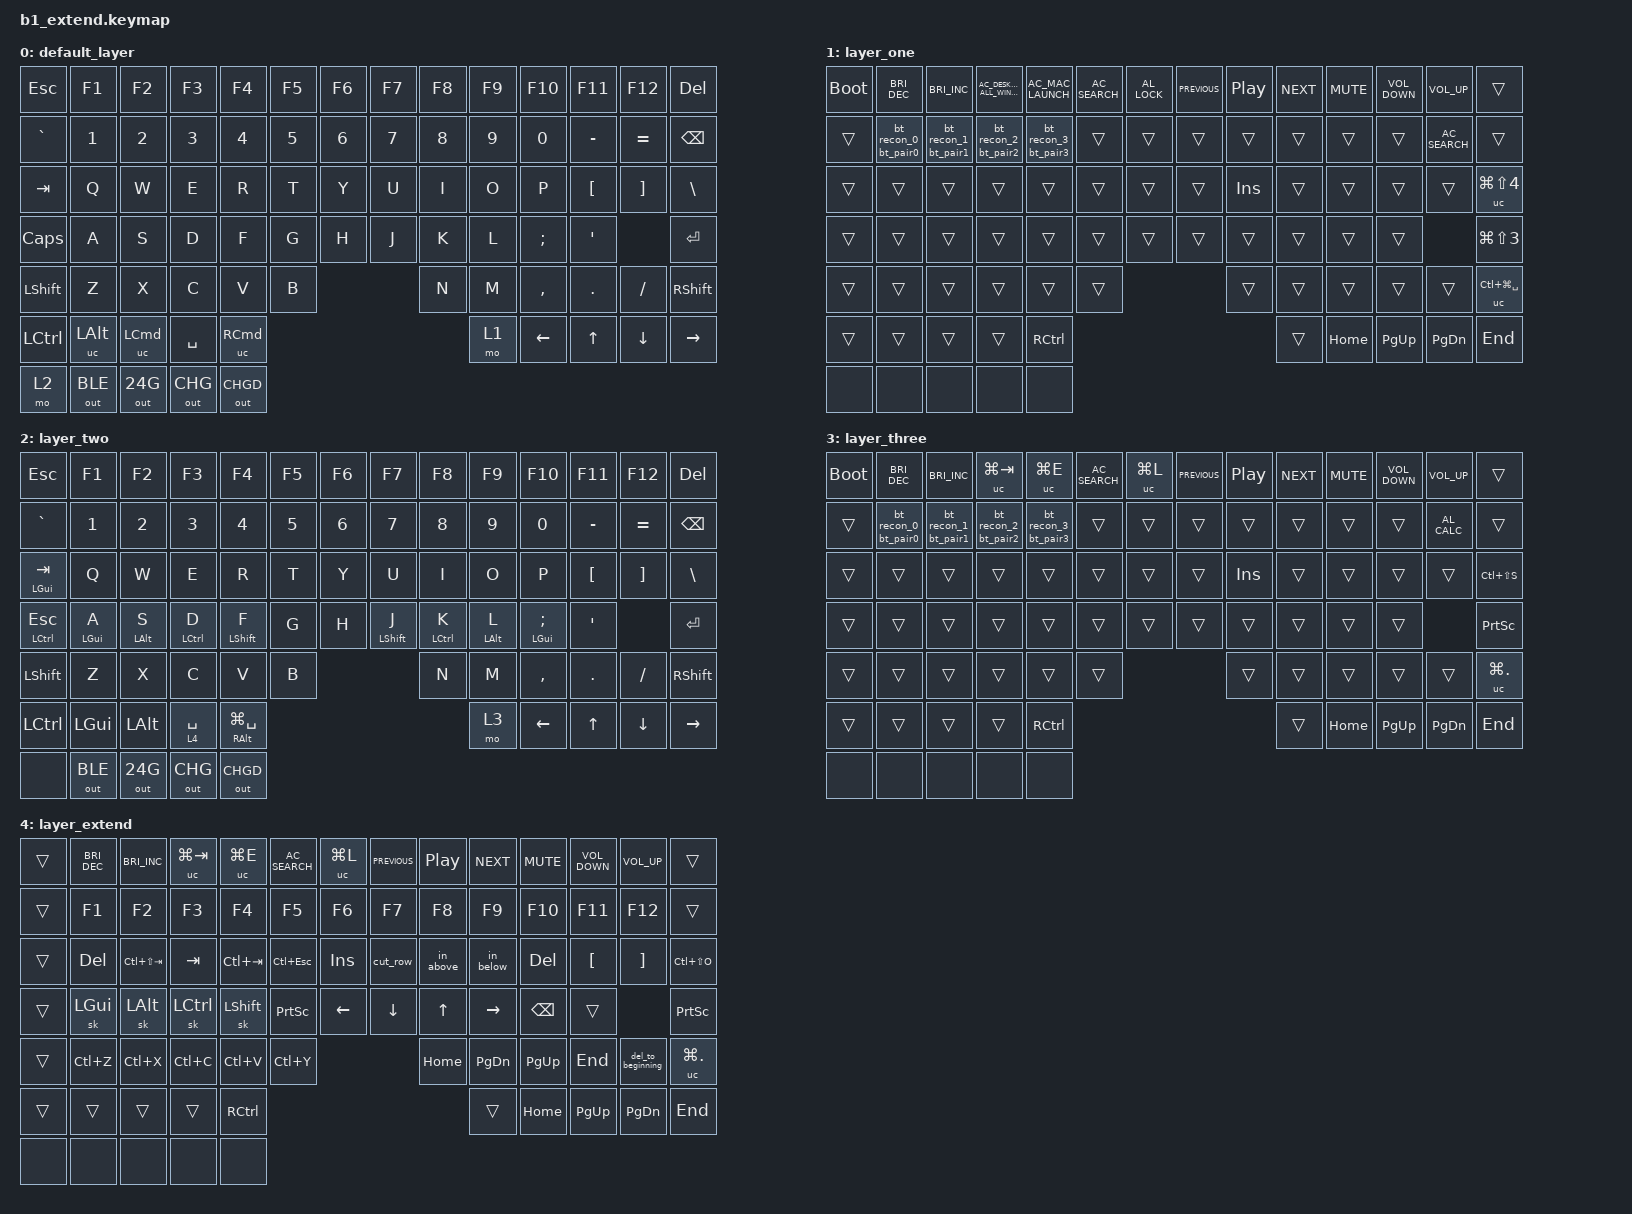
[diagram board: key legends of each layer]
/*
 * Copyright (c) 2023 The ZMK Contributors
 *
 * SPDX-License-Identifier: MIT
 */

#include <behaviors.dtsi>
#include <dt-bindings/zmk/keys.h>
#include <dt-bindings/zmk/rgb.h>
#include <dt-bindings/zmk/bt.h>
#include <dt-bindings/zmk/outputs.h>

&sk {
        release-after-ms = <60000>;
};

/ {
    ZMK_MACRO(recover, bindings = <&out OUT_RECOVER>;)
    ZMK_MACRO(change, bindings = <&out OUT_FN>;)
    ZMK_MACRO(fn_win, bindings = <&out OUT_FN_WIN>;)

    ZMK_MACRO(en_bootloader, bindings = <&bootloader>;)
    ZMK_MACRO1(MA,bindings=<&kp 0x770000>;)

    long_press_recover:l1 {
        compatible = "zmk,behavior-hold-tap";
        label = "l1";
        #binding-cells = <2>;
        flavor = "tap-preferred";
        tapping-term-ms = <3000>;  // delay amount in ms
        bindings = <&recover>, <&none>;
    };

    long_press_change:l2{
        compatible = "zmk,behavior-hold-tap";
        label = "lp_change";
        #binding-cells = <2>;
        flavor = "tap-preferred";
        tapping-term-ms = <3000>;  // delay amount in ms
        bindings = <&change>, <&none>;
    };
    long_press_bootloader:l3{
        compatible = "zmk,behavior-hold-tap";
        label = "lp_bootloader";
        #binding-cells = <2>;
        flavor = "tap-preferred";
        tapping-term-ms = <3000>;  // delay amount in ms
        bindings = <&en_bootloader>, <&none>;
    };
    long_press_fn_win:l4{
        compatible = "zmk,behavior-hold-tap";
        label = "lp_fn_win";
        #binding-cells = <2>;
        flavor = "tap-preferred";
        tapping-term-ms = <3000>;
        bindings = <&fn_win>, <&none>;
    };


    combos1 {
        compatible = "zmk,combos";
        combo_jz {
            timeout-ms = <1000>;
            layers = <1 3>;
            key-positions = <49 56>; //fn+j+z
            bindings = <&long_press_recover 0 0>;
        };
        combo_xl {
            timeout-ms = <1000>;
            layers =< 1 3>;
            key-positions = <57 51>; //fn+x+l
            bindings = <&long_press_change 0 0>;
        };
        combo_b {
            timeout-ms = <1000>;
            layers =< 1 3>;
            //slow-release = <true>;
            key-positions = <60>; //fn+b
            bindings = <&out OUT_BAT>;
        };

        combo_win_l {
            timeout-ms = <1000>;
            layers =< 1 3>;
            //slow-release = <true>;
            key-positions = <68>; //fn+win
            bindings = <&long_press_fn_win 0 0>;
        };

        combo_t0 {
            timeout-ms = <10 >;
            layers =<4>;

            key-positions = <80 90>;
            bindings = <&to 3 >;
        };
        combo_t1 {
            timeout-ms = <10 >;
            layers =<4>;

            key-positions = <80 91>;
            bindings = <&tog 3 >;
        };
        combo_t2 {
            timeout-ms = <10 >;
            layers =<4>;

            key-positions = <80 92>;
            bindings = <&sl 3 >;
        };
        combo_t3 {
            timeout-ms = <10 >;
            layers =<4>;

            key-positions = <70 93>;
            bindings = <&lt 3 SPACE>;
        };
        combo_t4 {
            timeout-ms = <10 >;
            layers =<4>;

            key-positions = <81 94>;
            bindings = <&sk LSHIFT>;
        };
        combo_t5 {
            timeout-ms = <10 >;
            layers =<4>;

            key-positions = <81 93>;
            bindings = <&mt LSHIFT SPACE>;
        };
        combo_t6 {
            timeout-ms = <10 >;
            layers =<4>;

            key-positions = <81 93>;
            bindings = <&gresc>;
        };
    };

    td0 {
        compatible = "zmk,behavior-tap-dance";
        label = "TAPD_LAYER";
        #binding-cells = <1>;
        tapping-term-ms = <350>;
        bindings =<&mo 0>,<&mo 0>,<&mo 0>,<&mo 0>,<&to 0>;
    };
    ZMK_MACRO(bt_pair0, bindings = <&bt BT_PAIR 0>;)
    ZMK_MACRO(bt_pair1, bindings = <&bt BT_PAIR 1>;)
    ZMK_MACRO(bt_pair2, bindings = <&bt BT_PAIR 2>;)
    ZMK_MACRO(bt_pair3, bindings = <&bt BT_PAIR 3>;)
    ZMK_MACRO(bt_recon_0, bindings = <&bt BT_SEL 0>;)
    ZMK_MACRO(bt_recon_1, bindings = <&bt BT_SEL 1>;)
    ZMK_MACRO(bt_recon_2, bindings = <&bt BT_SEL 2>;)
    ZMK_MACRO(bt_recon_3, bindings = <&bt BT_SEL 3>;)



    bt_pair_0: bt_pair_0 {
        compatible = "zmk,behavior-hold-tap";
        label = "bt_pair0";
        #binding-cells = <2>;
        flavor = "tap-preferred";
        tapping-term-ms = <3000>;  // delay amount in ms
        bindings = <&bt_pair0>, <&bt_recon_0>;
    };
    bt_pair_1: bt_pair_1 {
        compatible = "zmk,behavior-hold-tap";
        label = "bt_pair1";
        #binding-cells = <2>;
        flavor = "tap-preferred";
        tapping-term-ms = <3000>;  // delay amount in ms
        bindings = <&bt_pair1>, <&bt_recon_1>;
    };
    bt_pair_2: bt_pair_2 {
        compatible = "zmk,behavior-hold-tap";
        label = "bt_pair2";
        #binding-cells = <2>;
        flavor = "tap-preferred";
        tapping-term-ms = <3000>;  // delay amount in ms
        bindings = <&bt_pair2>, <&bt_recon_2>;
    };
    bt_pair_3: bt_pair_3 {
        compatible = "zmk,behavior-hold-tap";
        label = "bt_pair3";
        #binding-cells = <2>;
        flavor = "tap-preferred";
        tapping-term-ms = <3000>;  // delay amount in ms
        bindings = <&bt_pair3>, <&bt_recon_3>;
    };
    uc:user_custom {
        compatible = "zmk,behavior-key-press";
        label ="user_custom";
        #binding-cells =<1>;
    };

    macros {
        cut_row: cut_row {
            compatible = "zmk,behavior-macro";
            #binding-cells = <0>;
            bindings = <&kp HOME &kp LS(DOWN) &kp LC(X)>;
            label = "CUT_ROW";
        };
        in_below: in_below {
            compatible = "zmk,behavior-macro";
            #binding-cells = <0>;
            bindings = <&kp END &kp LS(RET)>;
            label = "IN_BELOW";
        };
        in_above: in_above {
            compatible = "zmk,behavior-macro";
            #binding-cells = <0>;
            bindings = <&kp HOME &kp LS(RET) &kp UP>;
            label = "IN_ABOVE";
        };
        del_to_beginning: del_to_beginning {
            compatible = "zmk,behavior-macro";
            #binding-cells = <0>;
            bindings = <&kp LS(HOME) &kp BSPC>;
            label = "DEL_TO_BEGINNING";
        };
    };

    behaviors {
        hrm: mod_tap {
            compatible = "zmk,behavior-hold-tap";
            label = "HRM";
            #binding-cells = <2>;
            bindings = <&kp>, <&kp>;
            quick-tap-ms = <100>;
            global-quick-tap;
            flavor = "tap-preferred";
            tapping-term-ms = <170>;
        };
        // hrm for pinky
        hrp: mod_tap_pinky {
            compatible = "zmk,behavior-hold-tap";
            label = "HRM for pinky";
            #binding-cells = <2>;
            bindings = <&kp>, <&kp>;
            quick-tap-ms = <100>;
            global-quick-tap;
            flavor = "tap-preferred";
            tapping-term-ms = <190>;
        };
    };

	keymap {
    	compatible = "zmk,keymap";
            //mac
        default_layer {
        bindings = <
        &kp ESC     &kp F1                  &kp F2                  &kp F3                              &kp F4                  &kp F5              &kp F6          &kp F7          &kp F8              &kp F9      &kp F10     &kp F11             &kp F12             &kp DEL
        &kp GRAVE   &kp N1                  &kp N2                  &kp N3                              &kp N4                  &kp N5              &kp N6          &kp N7          &kp N8              &kp N9      &kp N0      &kp MINUS           &kp EQUAL           &kp BSPC
        &kp TAB     &kp Q                   &kp W                   &kp E                               &kp R                   &kp T               &kp Y           &kp U           &kp I               &kp O       &kp P       &kp LBKT            &kp RBKT            &kp BSLH
        &kp CLCK    &kp A                   &kp S                   &kp D                               &kp F                   &kp G               &kp H           &kp J           &kp K               &kp L       &kp SEMI    &kp SQT                         &kp RET
        &kp LSHFT   &kp Z                   &kp X                   &kp C                               &kp V                   &kp B               &kp N           &kp M           &kp COMMA           &kp DOT     &kp FSLH                                    &kp RSHFT
        &kp LCTRL   &uc LALT                &uc LCMD                       &kp SPACE                                                                                                &uc RCMD            &mo 1       &kp LEFT    &kp UP              &kp DOWN            &kp RIGHT
        &mo 2       &out OUT_BLE            &out OUT_24G            &out OUT_CHG                        &out OUT_CHGD
            >;
        };
        //mac
        layer_one  {
        bindings = <
          //ESC         //f1                    //f2                //f3                                    //f4                //f5                //f6            //f7            //f8                //f9        //f10       //f11               //f12               //DEL
   &bootloader      &kp C_BRIGHTNESS_DEC    &kp C_BRIGHTNESS_INC    &kp C_AC_DESKTOP_SHOW_ALL_WINDOWS   &kp  C_AC_MAC_LAUNCH    &kp C_AC_SEARCH     &kp C_AL_LOCK   &kp C_PREVIOUS  &kp C_PLAY_PAUSE    &kp C_NEXT  &kp C_MUTE  &kp C_VOLUME_DOWN   &kp C_VOLUME_UP     &trans
        &trans      &bt_pair_0 0 0          &bt_pair_1 0 0          &bt_pair_2 0 0                      &bt_pair_3 0 0          &trans              &trans          &trans          &trans              &trans      &trans      &trans              &kp C_AC_SEARCH     &trans
        &trans      &trans                  &trans                  &trans                              &trans                  &trans              &trans          &trans          &kp INS             &trans      &trans      &trans              &trans              &uc LG(LS(N4))
        &trans      &trans                  &trans                  &trans                              &trans                  &trans              &trans          &trans          &trans              &trans      &trans      &trans                      &kp LG(LS(N3))
        &trans      &trans                  &trans                  &trans                              &trans                  &trans              &trans          &trans          &trans              &trans      &trans                                  &uc LC(LG(SPACE))
        &trans      &trans                  &trans                         &trans                                                                                                   &kp RCTRL           &trans        &kp HOME   &kp PG_UP   &kp PG_DN    &kp END
        //
        &none       &none                   &none                   &none                               &none
            >;
        };
        //win
        layer_two {
 		bindings = <
        &kp ESC 	&kp F1 	               &kp F2 	                &kp F3 	                            &kp F4 	                &kp F5 	            &kp F6 	        &kp F7 	        &kp F8 	            &kp F9 	     &kp F10 	&kp F11 	         &kp F12 	         &kp DEL
        &kp GRAVE	&kp N1 	               &kp N2 	                &kp N3 	                            &kp N4 	                &kp N5 	            &kp N6 	        &kp N7 	        &kp N8 	            &kp N9 	     &kp N0     &kp MINUS 	         &kp EQUAL 	         &kp BSPC
        &mt LGUI TAB 	&kp Q              &kp W                    &kp E 	                            &kp R 	                &kp T               &kp Y 	        &kp U 	        &kp I 	            &kp O 	     &kp P 		&kp LBKT 	         &kp RBKT 	         &kp BSLH
        &mt LCTRL ESC 	&hrp LGUI A        &hrm LALT S              &hrm LCTRL D                        &mt LSHFT F             &kp G 	            &kp H 	        &mt LSHFT J     &hrm LCTRL K        &hrm LALT L  &hrp LGUI SEMI	&kp SQT                  &kp RET
        &kp LSHFT   &kp Z 	               &kp X 	                &kp C 	                            &kp V 	                &kp B 	            &kp N 	        &kp M 	        &kp COMMA           &kp DOT      &kp FSLH                                &kp RSHFT
        &kp LCTRL 	&kp LGUI               &kp LALT                      &lt 4 SPACE              		                                                                            &mt RALT LG(SPACE)  &mo 3        &kp LEFT 	 &kp UP      &kp DOWN 	&kp RIGHT
        //
        &none       &out OUT_BLE           &out OUT_24G             &out OUT_CHG                        &out OUT_CHGD
            >;
        };
        //win
        layer_three {
        bindings = <
                    //f1                    //f2                    //f3                                //f4                        //f5            //f6              //f7            //f8              //f9        //f10           //f11                         //f12
   &bootloader  &kp C_BRIGHTNESS_DEC    &kp C_BRIGHTNESS_INC        &uc LG(TAB)                         &uc LG(E)               &kp C_AC_SEARCH     &uc LG(L)       &kp C_PREVIOUS  &kp C_PLAY_PAUSE    &kp C_NEXT  &kp C_MUTE  &kp C_VOLUME_DOWN           &kp C_VOLUME_UP      &trans
        &trans  &bt_pair_0 0 0          &bt_pair_1 0 0              &bt_pair_2 0 0                      &bt_pair_3 0 0          &trans              &trans          &trans          &trans              &trans      &trans      &trans                      &kp C_AL_CALC        &trans
        &trans  &trans                  &trans                      &trans                              &trans                  &trans              &trans          &trans          &kp INS             &trans      &trans      &trans                      &trans               &kp LC(LS(S))
        &trans  &trans                  &trans                      &trans                              &trans                  &trans              &trans          &trans          &trans              &trans      &trans      &trans                              &kp PSCRN
        &trans  &trans                  &trans                      &trans                              &trans                  &trans              &trans          &trans          &trans              &trans      &trans                                          &uc LG(DOT)
        &trans  &trans                  &trans                           &trans                                                                                                     &kp RCTRL           &trans      &kp HOME    &kp PG_UP    &kp PG_DN   &kp END
        //
        &none   &none                   &none                       &none                               &none
            >;
        };
        //win
        layer_extend {
        bindings = <
                    //f1                    //f2                    //f3                                //f4                        //f5            //f6              //f7            //f8              //f9        //f10           //f11                         //f12
        &trans  &kp C_BRIGHTNESS_DEC    &kp C_BRIGHTNESS_INC        &uc LG(TAB)                         &uc LG(E)               &kp C_AC_SEARCH     &uc LG(L)       &kp C_PREVIOUS  &kp C_PLAY_PAUSE    &kp C_NEXT  &kp C_MUTE  &kp C_VOLUME_DOWN           &kp C_VOLUME_UP      &trans
        &trans  &kp F1 	                &kp F2 	                    &kp F3 	                            &kp F4 	                &kp F5 	            &kp F6 	        &kp F7 	        &kp F8 	            &kp F9 	    &kp F10 	&kp F11 	                &kp F12              &trans
        &trans  &kp DEL                 &kp LC(LS(TAB))             &kp TAB                             &kp LC(TAB)             &kp LC(ESC)         &kp INS         &cut_row        &in_above           &in_below   &kp DEL     &kp LBKT 	                &kp RBKT             &kp LC(LS(O))
        &trans  &sk LGUI                &sk LALT                    &sk LCTRL                           &sk LSHFT               &kp PSCRN           &kp LEFT        &kp DOWN        &kp UP              &kp RIGHT   &kp BSPC    &trans                              &kp PSCRN
        &trans  &kp LC(Z)               &kp LC(X)                   &kp LC(C)                           &kp LC(V)               &kp LC(Y)           &kp HOME        &kp PG_DN       &kp PG_UP           &kp END     &del_to_beginning                               &uc LG(DOT)
        &trans  &trans                  &trans                           &trans                                                                                                     &kp RCTRL           &trans      &kp HOME    &kp PG_UP    &kp PG_DN   &kp END
        //
        &none   &none                   &none                       &none                               &none
            >;
        };



	};
};
